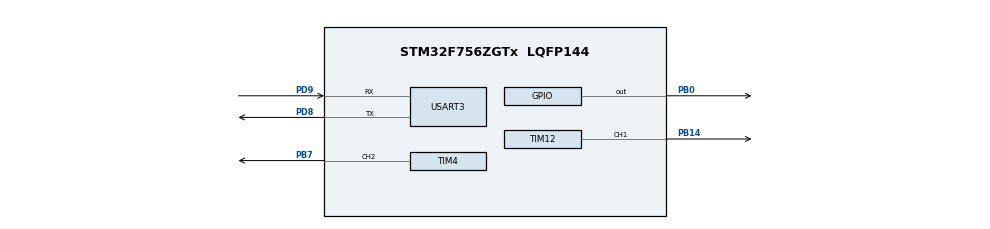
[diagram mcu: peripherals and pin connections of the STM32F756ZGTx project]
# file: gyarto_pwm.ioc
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Mcu.Family=STM32F7
Mcu.Name=STM32F756ZGTx
Mcu.Package=LQFP144
NVIC.PriorityGroup=NVIC_PRIORITYGROUP_4
NVIC.TIM4_IRQn=true\:0\:0\:false\:false\:true\:true\:true
NVIC.TIM8_BRK_TIM12_IRQn=true\:0\:0\:false\:false\:true\:true\:true
NVIC.USART3_IRQn=true\:0\:0\:false\:false\:true\:true\:true
PB0.Signal=GPIO_Output
PB14.Signal=S_TIM12_CH1
PB7.Signal=S_TIM4_CH2
PD8.Mode=Asynchronous
PD8.Signal=USART3_TX
PD9.Mode=Asynchronous
PD9.Signal=USART3_RX
ProjectManager.HeapSize=0x200
ProjectManager.StackSize=0x400
ProjectManager.TargetToolchain=TrueSTUDIO
RCC.HSE_VALUE=25000000
RCC.HSI_VALUE=16000000
RCC.LSE_VALUE=32768
RCC.USBFreq_Value=96000000
RCC.VCOOutputFreq_Value=192000000
SH.S_TIM12_CH1.0=TIM12_CH1,PWM Generation1 CH1
SH.S_TIM4_CH2.0=TIM4_CH2,PWM Generation2 CH2
TIM12.Channel-PWM\ Generation1\ CH1=TIM_CHANNEL_1
TIM12.Period=100
TIM12.Prescaler=15
TIM12.Pulse-PWM\ Generation1\ CH1=50
TIM4.Channel-PWM\ Generation2\ CH2=TIM_CHANNEL_2
TIM4.Period=100
TIM4.Prescaler=15
TIM4.Pulse-PWM\ Generation2\ CH2=5
USART3.VirtualMode-Asynchronous=VM_ASYNC
VP_TIM12_VS_ClockSourceINT.Mode=Internal
VP_TIM4_VS_ClockSourceINT.Mode=Internal
board=custom

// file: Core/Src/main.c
/* USER CODE BEGIN Header */
/**
  ******************************************************************************
  * @file           : main.c
  * @brief          : Main program body
  ******************************************************************************
  * @attention
  *
  * <h2><center>&copy; Copyright (c) 2021 STMicroelectronics.
  * All rights reserved.</center></h2>
  *
  * This software component is licensed by ST under BSD 3-Clause license,
  * the "License"; You may not use this file except in compliance with the
  * License. You may obtain a copy of the License at:
  *                        opensource.org/licenses/BSD-3-Clause
  *
  ******************************************************************************
  */
/* USER CODE END Header */
#include "main.h"
#include <String.h>
#include <stdlib.h>

/* USER CODE BEGIN PD */
#define MAX_LEN 4
/* USER CODE END PD */

TIM_HandleTypeDef htim4;
TIM_HandleTypeDef htim12;

UART_HandleTypeDef huart3;

void SystemClock_Config(void);
static void MX_GPIO_Init(void);
static void MX_TIM4_Init(void);
static void MX_TIM12_Init(void);
static void MX_USART3_UART_Init(void);
/* USER CODE BEGIN PFP */
uint8_t i=1;

uint16_t data=0;
uint8_t num_str[3];
char t=0;

void HAL_UART_RxCpltCallback(UART_HandleTypeDef *huart)
{
	HAL_UART_Receive_IT(&huart3, &fogad, 1);

	t = fogad;
	/*t =  t- '0';
	received_string[cnt++] = data;

	data = t * 100; */

	if (huart->Instance == USART3)
	{

		if ((t == '\r') || (t == '\n'))
		{

			//data=(num_str[0]*100)+(num_str[1]*10)+num_str[2];

			__HAL_TIM_SET_COMPARE(&htim4, TIM_CHANNEL_2, data);

			for(int k=0; k<4; k++)
			{
				num_str[k]=0;
			}
			i=1;
		}
		else
		{
			t = fogad;
			t =  t- '0';

			num_str[i]=t;

			//if (i==3) i=0;

			switch(i){
						case 1: data = num_str[1]; i++; break;
						case 2: data = (num_str[1]*10) + num_str[2]; i++; break;
						case 3: data = 100; i=1; break;
						}

			// nem ertem miert nem mukodik sem az atoi, sem az strol, 0 ad vissza
			// chop trees pwv

				//data = t ;//* 100;

		}

		HAL_UART_Transmit_IT(huart, &fogad, 1);
	}

}

void HAL_UART_TxCpltCallback(UART_HandleTypeDef *huart)
{
	//HAL_UART_Transmit_IT(&huart3, &fogad, 1);

}

//void HAL_UART_Receive_IT(&huart3, rx_buff, 10);
//void HAL_UART_Transmit_IT(&huart3, tx_buff, 10);
/* USER CODE END PFP */

/* USER CODE BEGIN 0 */
extern uint8_t fogad=0;
uint8_t tx_buff[]={0,1,2,3,4,5,6,7,8,9};
uint8_t rx_buff[10];

/* USER CODE END 0 */

int main(void)
{
  /* USER CODE BEGIN 1 */

	uint8_t text[] = "Adjon meg egy értéket 0-100% között!" ;

  /* USER CODE END 1 */

  /* MCU Configuration--------------------------------------------------------*/

  /* Reset of all peripherals, Initializes the Flash interface and the Systick. */
  HAL_Init();

  /* Configure the system clock */
  SystemClock_Config();

  /* Initialize all configured peripherals */
  MX_GPIO_Init();
  MX_TIM4_Init();
  MX_TIM12_Init();
  MX_USART3_UART_Init();
  /* USER CODE BEGIN 2 */
  //HAL_TIM_PWM_Start_IT(&htim12, TIM_CHANNEL_1);
  HAL_TIM_PWM_Start_IT(&htim4, TIM_CHANNEL_2);

  HAL_UART_Receive_IT(&huart3, &fogad, 1);
  //HAL_UART_Receive_IT(&huart3, rx_buff, 10);
  //HAL_UART_Transmit_IT(&huart3, tx_buff, 10);

  HAL_UART_Transmit(&huart3, text, sizeof(text), 20);

  __HAL_TIM_SET_COMPARE(&htim4, TIM_CHANNEL_2, 25);
  /* USER CODE END 2 */

  /* Infinite loop */
  while (1)
  {

  }
}

void SystemClock_Config(void)
{
  RCC_OscInitTypeDef RCC_OscInitStruct = {0};
  RCC_ClkInitTypeDef RCC_ClkInitStruct = {0};
  RCC_PeriphCLKInitTypeDef PeriphClkInitStruct = {0};

  /** Configure the main internal regulator output voltage
  */
  __HAL_RCC_PWR_CLK_ENABLE();
  __HAL_PWR_VOLTAGESCALING_CONFIG(PWR_REGULATOR_VOLTAGE_SCALE3);
  /** Initializes the RCC Oscillators according to the specified parameters
  * in the RCC_OscInitTypeDef structure.
  */
  RCC_OscInitStruct.OscillatorType = RCC_OSCILLATORTYPE_HSI;
  RCC_OscInitStruct.HSIState = RCC_HSI_ON;
  RCC_OscInitStruct.HSICalibrationValue = RCC_HSICALIBRATION_DEFAULT;
  RCC_OscInitStruct.PLL.PLLState = RCC_PLL_NONE;
  if (HAL_RCC_OscConfig(&RCC_OscInitStruct) != HAL_OK)
  {
    Error_Handler();
  }
  /** Initializes the CPU, AHB and APB buses clocks
  */
  RCC_ClkInitStruct.ClockType = RCC_CLOCKTYPE_HCLK|RCC_CLOCKTYPE_SYSCLK
                              |RCC_CLOCKTYPE_PCLK1|RCC_CLOCKTYPE_PCLK2;
  RCC_ClkInitStruct.SYSCLKSource = RCC_SYSCLKSOURCE_HSI;
  RCC_ClkInitStruct.AHBCLKDivider = RCC_SYSCLK_DIV1;
  RCC_ClkInitStruct.APB1CLKDivider = RCC_HCLK_DIV1;
  RCC_ClkInitStruct.APB2CLKDivider = RCC_HCLK_DIV1;

  if (HAL_RCC_ClockConfig(&RCC_ClkInitStruct, FLASH_LATENCY_0) != HAL_OK)
  {
    Error_Handler();
  }
  PeriphClkInitStruct.PeriphClockSelection = RCC_PERIPHCLK_USART3;
  PeriphClkInitStruct.Usart3ClockSelection = RCC_USART3CLKSOURCE_PCLK1;
  if (HAL_RCCEx_PeriphCLKConfig(&PeriphClkInitStruct) != HAL_OK)
  {
    Error_Handler();
  }
}

static void MX_TIM4_Init(void)
{

  TIM_ClockConfigTypeDef sClockSourceConfig = {0};
  TIM_MasterConfigTypeDef sMasterConfig = {0};
  TIM_OC_InitTypeDef sConfigOC = {0};

  htim4.Instance = TIM4;
  htim4.Init.Prescaler = 15;
  htim4.Init.CounterMode = TIM_COUNTERMODE_UP;
  htim4.Init.Period = 100;
  htim4.Init.ClockDivision = TIM_CLOCKDIVISION_DIV1;
  htim4.Init.AutoReloadPreload = TIM_AUTORELOAD_PRELOAD_DISABLE;
  if (HAL_TIM_Base_Init(&htim4) != HAL_OK)
  {
    Error_Handler();
  }
  sClockSourceConfig.ClockSource = TIM_CLOCKSOURCE_INTERNAL;
  if (HAL_TIM_ConfigClockSource(&htim4, &sClockSourceConfig) != HAL_OK)
  {
    Error_Handler();
  }
  if (HAL_TIM_PWM_Init(&htim4) != HAL_OK)
  {
    Error_Handler();
  }
  sMasterConfig.MasterOutputTrigger = TIM_TRGO_RESET;
  sMasterConfig.MasterSlaveMode = TIM_MASTERSLAVEMODE_DISABLE;
  if (HAL_TIMEx_MasterConfigSynchronization(&htim4, &sMasterConfig) != HAL_OK)
  {
    Error_Handler();
  }
  sConfigOC.OCMode = TIM_OCMODE_PWM1;
  sConfigOC.Pulse = 5;
  sConfigOC.OCPolarity = TIM_OCPOLARITY_HIGH;
  sConfigOC.OCFastMode = TIM_OCFAST_DISABLE;
  if (HAL_TIM_PWM_ConfigChannel(&htim4, &sConfigOC, TIM_CHANNEL_2) != HAL_OK)
  {
    Error_Handler();
  }
  /* USER CODE BEGIN TIM4_Init 2 */

  void TIM4_IRQHandler(void)
  	{
  	  /* USER CODE BEGIN TIM4_IRQn 0 */

  	  /* USER CODE END TIM4_IRQn 0 */
  	  HAL_TIM_IRQHandler(&htim4);
  	  /* USER CODE BEGIN TIM4_IRQn 1 */

  	  /* USER CODE END TIM4_IRQn 1 */
  	}
  /* USER CODE END TIM4_Init 2 */
  HAL_TIM_MspPostInit(&htim4);

}

static void MX_TIM12_Init(void)
{

  /* USER CODE BEGIN TIM12_Init 0 */

	/**
	  * @brief This function handles TIM8 break interrupt and TIM12 global interrupt.
	  */
	void TIM8_BRK_TIM12_IRQHandler(void)
	{
	  /* USER CODE BEGIN TIM8_BRK_TIM12_IRQn 0 */

	  /* USER CODE END TIM8_BRK_TIM12_IRQn 0 */
	  HAL_TIM_IRQHandler(&htim12);
	  /* USER CODE BEGIN TIM8_BRK_TIM12_IRQn 1 */

	  /* USER CODE END TIM8_BRK_TIM12_IRQn 1 */
	}
  /* USER CODE END TIM12_Init 0 */

  TIM_ClockConfigTypeDef sClockSourceConfig = {0};
  TIM_OC_InitTypeDef sConfigOC = {0};

  htim12.Instance = TIM12;
  htim12.Init.Prescaler = 15;
  htim12.Init.CounterMode = TIM_COUNTERMODE_UP;
  htim12.Init.Period = 100;
  htim12.Init.ClockDivision = TIM_CLOCKDIVISION_DIV1;
  htim12.Init.AutoReloadPreload = TIM_AUTORELOAD_PRELOAD_DISABLE;
  if (HAL_TIM_Base_Init(&htim12) != HAL_OK)
  {
    Error_Handler();
  }
  sClockSourceConfig.ClockSource = TIM_CLOCKSOURCE_INTERNAL;
  if (HAL_TIM_ConfigClockSource(&htim12, &sClockSourceConfig) != HAL_OK)
  {
    Error_Handler();
  }
  if (HAL_TIM_PWM_Init(&htim12) != HAL_OK)
  {
    Error_Handler();
  }
  sConfigOC.OCMode = TIM_OCMODE_PWM1;
  sConfigOC.Pulse = 50;
  sConfigOC.OCPolarity = TIM_OCPOLARITY_HIGH;
  sConfigOC.OCFastMode = TIM_OCFAST_DISABLE;
  if (HAL_TIM_PWM_ConfigChannel(&htim12, &sConfigOC, TIM_CHANNEL_1) != HAL_OK)
  {
    Error_Handler();
  }
  HAL_TIM_MspPostInit(&htim12);

}

static void MX_USART3_UART_Init(void)
{

  huart3.Instance = USART3;
  huart3.Init.BaudRate = 115200;
  huart3.Init.WordLength = UART_WORDLENGTH_8B;
  huart3.Init.StopBits = UART_STOPBITS_1;
  huart3.Init.Parity = UART_PARITY_NONE;
  huart3.Init.Mode = UART_MODE_TX_RX;
  huart3.Init.HwFlowCtl = UART_HWCONTROL_NONE;
  huart3.Init.OverSampling = UART_OVERSAMPLING_16;
  huart3.Init.OneBitSampling = UART_ONE_BIT_SAMPLE_DISABLE;
  huart3.AdvancedInit.AdvFeatureInit = UART_ADVFEATURE_NO_INIT;
  if (HAL_UART_Init(&huart3) != HAL_OK)
  {
    Error_Handler();
  }

}

static void MX_GPIO_Init(void)
{
  GPIO_InitTypeDef GPIO_InitStruct = {0};

  /* GPIO Ports Clock Enable */
  __HAL_RCC_GPIOB_CLK_ENABLE();
  __HAL_RCC_GPIOD_CLK_ENABLE();

  /*Configure GPIO pin Output Level */
  HAL_GPIO_WritePin(GPIOB, GPIO_PIN_0, GPIO_PIN_RESET);

  /*Configure GPIO pin : PB0 */
  GPIO_InitStruct.Pin = GPIO_PIN_0;
  GPIO_InitStruct.Mode = GPIO_MODE_OUTPUT_PP;
  GPIO_InitStruct.Pull = GPIO_NOPULL;
  GPIO_InitStruct.Speed = GPIO_SPEED_FREQ_LOW;
  HAL_GPIO_Init(GPIOB, &GPIO_InitStruct);

}

/* USER CODE BEGIN 4 */
/*void HAL_UART_RxCpltCallback(UART_HandleTypeDef *huart)
{
	__NOP();
}
void HAL_UART_TxCpltCallback(UART_HandleTypeDef *huart)
{
	__NOP();
} */

/* USER CODE END 4 */

void Error_Handler(void)
{
  __disable_irq();
  while (1)
  {
  }
}

/************************ (C) COPYRIGHT STMicroelectronics *****END OF FILE****/
